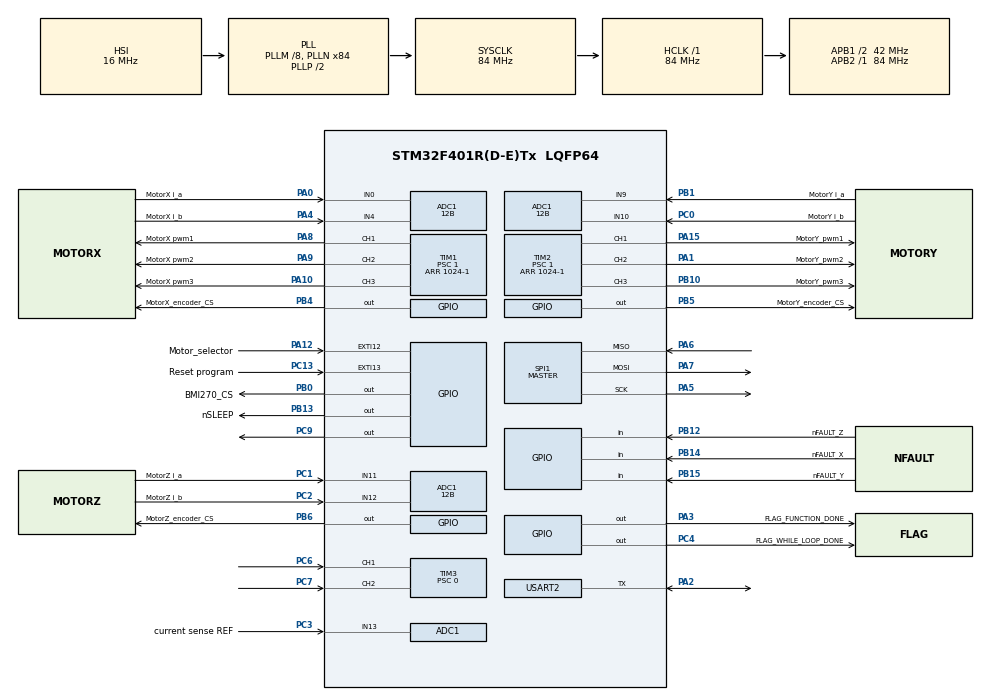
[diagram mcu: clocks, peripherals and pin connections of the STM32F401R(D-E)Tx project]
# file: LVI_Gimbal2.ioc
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ADC1.Channel-0\#ChannelRegularConversion=ADC_CHANNEL_0
ADC1.Channel-1\#ChannelRegularConversion=ADC_CHANNEL_4
ADC1.Channel-2\#ChannelRegularConversion=ADC_CHANNEL_9
ADC1.Channel-3\#ChannelRegularConversion=ADC_CHANNEL_10
ADC1.Channel-4\#ChannelRegularConversion=ADC_CHANNEL_13
ADC1.ClockPrescaler=ADC_CLOCK_SYNC_PCLK_DIV4
ADC1.ContinuousConvMode=ENABLE
ADC1.DMAContinuousRequests=ENABLE
ADC1.NbrOfConversion=5
ADC1.NbrOfConversionFlag=1
ADC1.Rank-0\#ChannelRegularConversion=1
ADC1.Rank-1\#ChannelRegularConversion=2
ADC1.Rank-2\#ChannelRegularConversion=3
ADC1.Rank-3\#ChannelRegularConversion=4
ADC1.Rank-4\#ChannelRegularConversion=5
ADC1.Resolution=ADC_RESOLUTION_12B
ADC1.SamplingTime-0\#ChannelRegularConversion=ADC_SAMPLETIME_3CYCLES
ADC1.SamplingTime-1\#ChannelRegularConversion=ADC_SAMPLETIME_3CYCLES
ADC1.SamplingTime-2\#ChannelRegularConversion=ADC_SAMPLETIME_3CYCLES
ADC1.SamplingTime-3\#ChannelRegularConversion=ADC_SAMPLETIME_3CYCLES
ADC1.SamplingTime-4\#ChannelRegularConversion=ADC_SAMPLETIME_3CYCLES
ADC1.master=1
Dma.ADC1.0.Direction=DMA_PERIPH_TO_MEMORY
Dma.ADC1.0.FIFOMode=DMA_FIFOMODE_DISABLE
Dma.ADC1.0.Instance=DMA2_Stream0
Dma.ADC1.0.MemDataAlignment=DMA_MDATAALIGN_HALFWORD
Dma.ADC1.0.MemInc=DMA_MINC_ENABLE
Dma.ADC1.0.Mode=DMA_CIRCULAR
Dma.ADC1.0.PeriphDataAlignment=DMA_PDATAALIGN_HALFWORD
Dma.ADC1.0.PeriphInc=DMA_PINC_DISABLE
Dma.ADC1.0.Priority=DMA_PRIORITY_LOW
Dma.Request0=ADC1
Mcu.Family=STM32F4
Mcu.Name=STM32F401R(D-E)Tx
Mcu.Package=LQFP64
NVIC.DMA2_Stream0_IRQn=true\:0\:0\:false\:false\:true\:false\:true
NVIC.EXTI15_10_IRQn=true\:0\:0\:false\:false\:true\:true\:true
NVIC.PriorityGroup=NVIC_PRIORITYGROUP_0
PA0-WKUP.GPIO_Label=MotorX i_a
PA0-WKUP.Signal=ADCx_IN0
PA1.GPIO_Label=MotorY_pwm2
PA1.Signal=S_TIM2_CH2
PA10.GPIO_Label=MotorX pwm3
PA10.Signal=S_TIM1_CH3
PA12.GPIO_Label=Motor_selector
PA12.Signal=GPXTI12
PA13.GPIO_Label=TMS
PA13.Mode=Serial_Wire
PA13.Signal=SYS_JTMS-SWDIO
PA14.GPIO_Label=TCK
PA14.Mode=Serial_Wire
PA14.Signal=SYS_JTCK-SWCLK
PA15.GPIO_Label=MotorY_pwm1
PA15.Signal=S_TIM2_CH1_ETR
PA2.Mode=Half_duplex(single_wire_mode)
PA2.Signal=USART2_TX
PA3.GPIO_Label=FLAG_FUNCTION_DONE
PA3.GPIO_Speed=GPIO_SPEED_FREQ_HIGH
PA3.Signal=GPIO_Output
PA4.GPIO_Label=MotorX i_b
PA4.Signal=ADCx_IN4
PA5.Mode=Full_Duplex_Master
PA5.Signal=SPI1_SCK
PA6.Mode=Full_Duplex_Master
PA6.Signal=SPI1_MISO
PA7.Mode=Full_Duplex_Master
PA7.Signal=SPI1_MOSI
PA8.GPIO_Label=MotorX pwm1
PA8.Signal=S_TIM1_CH1
PA9.GPIO_Label=MotorX pwm2
PA9.Signal=S_TIM1_CH2
PB0.GPIO_Label=BMI270_CS
PB0.GPIO_Speed=GPIO_SPEED_FREQ_VERY_HIGH
PB0.PinState=GPIO_PIN_SET
PB0.Signal=GPIO_Output
PB1.GPIO_Label=MotorY i_a
PB1.Signal=ADCx_IN9
PB10.GPIO_Label=MotorY_pwm3
PB10.Signal=S_TIM2_CH3
PB12.GPIO_Label=nFAULT_Z
PB12.Signal=GPIO_Input
PB13.GPIO_Label=nSLEEP
PB13.GPIO_Speed=GPIO_SPEED_FREQ_HIGH
PB13.Signal=GPIO_Output
PB14.GPIO_Label=nFAULT_X
PB14.Signal=GPIO_Input
PB15.GPIO_Label=nFAULT_Y
PB15.Signal=GPIO_Input
PB3.GPIO_Label=SWO
PB3.Signal=SYS_JTDO-SWO
PB4.GPIO_Label=MotorX_encoder_CS
PB4.GPIO_Speed=GPIO_SPEED_FREQ_VERY_HIGH
PB4.PinState=GPIO_PIN_SET
PB4.Signal=GPIO_Output
PB5.GPIO_Label=MotorY_encoder_CS
PB5.GPIO_Speed=GPIO_SPEED_FREQ_VERY_HIGH
PB5.PinState=GPIO_PIN_SET
PB5.Signal=GPIO_Output
PB6.GPIO_Label=MotorZ_encoder_CS
PB6.GPIO_Speed=GPIO_SPEED_FREQ_VERY_HIGH
PB6.PinState=GPIO_PIN_SET
PB6.Signal=GPIO_Output
PC0.GPIO_Label=MotorY i_b
PC0.Signal=ADCx_IN10
PC1.GPIO_Label=MotorZ i_a
PC1.Signal=ADCx_IN11
PC13-ANTI_TAMP.GPIO_Label=Reset program
PC13-ANTI_TAMP.GPIO_ModeDefaultEXTI=GPIO_MODE_IT_FALLING
PC13-ANTI_TAMP.GPIO_PuPd=GPIO_NOPULL
PC13-ANTI_TAMP.Signal=GPXTI13
PC14-OSC32_IN.Mode=LSE-External-Oscillator
PC14-OSC32_IN.Signal=RCC_OSC32_IN
PC15-OSC32_OUT.Mode=LSE-External-Oscillator
PC15-OSC32_OUT.Signal=RCC_OSC32_OUT
PC2.GPIO_Label=MotorZ i_b
PC2.Signal=ADCx_IN12
PC3.GPIO_Label=current sense REF
PC3.Signal=ADCx_IN13
PC4.GPIO_Label=FLAG_WHILE_LOOP_DONE
PC4.GPIO_Speed=GPIO_SPEED_FREQ_HIGH
PC4.Signal=GPIO_Output
PC6.Signal=S_TIM3_CH1
PC7.Signal=S_TIM3_CH2
PC9.Signal=GPIO_Output
PH0\ -\ OSC_IN.Mode=HSE-External-Oscillator
PH0\ -\ OSC_IN.Signal=RCC_OSC_IN
PH1\ -\ OSC_OUT.Mode=HSE-External-Oscillator
PH1\ -\ OSC_OUT.Signal=RCC_OSC_OUT
ProjectManager.HeapSize=0x200
ProjectManager.StackSize=0x400
ProjectManager.TargetToolchain=STM32CubeIDE
RCC.48MHZClocksFreq_Value=24000000
RCC.AHBFreq_Value=84000000
RCC.APB1CLKDivider=RCC_HCLK_DIV2
RCC.APB1Freq_Value=42000000
RCC.APB1TimFreq_Value=84000000
RCC.APB2Freq_Value=84000000
RCC.APB2TimFreq_Value=84000000
RCC.CortexFreq_Value=84000000
RCC.HCLKFreq_Value=84000000
RCC.HSE_VALUE=8000000
RCC.HSI_VALUE=16000000
RCC.PLLM=8
RCC.PLLN=84
RCC.PLLQ=7
RCC.SYSCLKFreq_VALUE=84000000
RCC.SYSCLKSource=RCC_SYSCLKSOURCE_PLLCLK
RCC.VCOOutputFreq_Value=168000000
SH.ADCx_IN0.0=ADC1_IN0,IN0
SH.ADCx_IN10.0=ADC1_IN10,IN10
SH.ADCx_IN11.0=ADC1_IN11,IN11
SH.ADCx_IN12.0=ADC1_IN12,IN12
SH.ADCx_IN13.0=ADC1_IN13,IN13
SH.ADCx_IN4.0=ADC1_IN4,IN4
SH.ADCx_IN9.0=ADC1_IN9,IN9
SH.S_TIM1_CH1.0=TIM1_CH1,PWM Generation1 CH1
SH.S_TIM1_CH2.0=TIM1_CH2,PWM Generation2 CH2
SH.S_TIM1_CH3.0=TIM1_CH3,PWM Generation3 CH3
SH.S_TIM2_CH1_ETR.0=TIM2_CH1,PWM Generation1 CH1
SH.S_TIM2_CH2.0=TIM2_CH2,PWM Generation2 CH2
SH.S_TIM2_CH3.0=TIM2_CH3,PWM Generation3 CH3
SH.S_TIM3_CH1.0=TIM3_CH1,Encoder_Interface
SH.S_TIM3_CH2.0=TIM3_CH2,Encoder_Interface
SPI1.BaudRatePrescaler=SPI_BAUDRATEPRESCALER_8
SPI1.Direction=SPI_DIRECTION_2LINES
SPI1.Mode=SPI_MODE_MASTER
SPI1.VirtualType=VM_MASTER
TIM1.AutoReloadPreload=TIM_AUTORELOAD_PRELOAD_DISABLE
TIM1.Channel-PWM\ Generation1\ CH1=TIM_CHANNEL_1
TIM1.Channel-PWM\ Generation2\ CH2=TIM_CHANNEL_2
TIM1.Channel-PWM\ Generation3\ CH3=TIM_CHANNEL_3
TIM1.ClockDivision=TIM_CLOCKDIVISION_DIV1
TIM1.CounterMode=TIM_COUNTERMODE_CENTERALIGNED1
TIM1.OCFastMode_PWM-PWM\ Generation1\ CH1=TIM_OCFAST_ENABLE
TIM1.OCFastMode_PWM-PWM\ Generation2\ CH2=TIM_OCFAST_ENABLE
TIM1.OCFastMode_PWM-PWM\ Generation3\ CH3=TIM_OCFAST_ENABLE
TIM1.Period=1024-1
TIM1.Prescaler=1
TIM1.Pulse-PWM\ Generation1\ CH1=0
TIM1.Pulse-PWM\ Generation2\ CH2=0
TIM2.Channel-PWM\ Generation1\ CH1=TIM_CHANNEL_1
TIM2.Channel-PWM\ Generation2\ CH2=TIM_CHANNEL_2
TIM2.Channel-PWM\ Generation3\ CH3=TIM_CHANNEL_3
TIM2.CounterMode=TIM_COUNTERMODE_CENTERALIGNED1
TIM2.OCFastMode_PWM-PWM\ Generation1\ CH1=TIM_OCFAST_ENABLE
TIM2.OCFastMode_PWM-PWM\ Generation2\ CH2=TIM_OCFAST_ENABLE
TIM2.OCFastMode_PWM-PWM\ Generation3\ CH3=TIM_OCFAST_ENABLE
TIM2.Period=1024-1
TIM2.Prescaler=1
TIM3.AutoReloadPreload=TIM_AUTORELOAD_PRELOAD_ENABLE
TIM3.EncoderMode=TIM_ENCODERMODE_TI12
TIM3.Period=730
TIM3.Prescaler=0
TIM3.TIM_MasterOutputTrigger=TIM_TRGO_RESET
TIM5.Channel-Output\ Compare4\ No\ Output=TIM_CHANNEL_4
TIM5.Period=999999
TIM5.Prescaler=84
USART2.VirtualMode=VM_ASYNC
VP_TIM1_VS_ClockSourceINT.Mode=Internal
VP_TIM2_VS_ClockSourceINT.Mode=Internal
VP_TIM5_VS_no_output4.Mode=Output Compare4 No Output
board=NUCLEO-F401RE

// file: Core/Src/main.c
/* USER CODE BEGIN Header */
/**
 ******************************************************************************
 * @file           : main.c
 * @brief          : Main program body
 ******************************************************************************
 * @attention
 *
 * <h2><center>&copy; Copyright (c) 2021 STMicroelectronics.
 * All rights reserved.</center></h2>
 *
 * This software component is licensed by ST under BSD 3-Clause license,
 * the "License"; You may not use this file except in compliance with the
 * License. You may obtain a copy of the License at:
 *                        opensource.org/licenses/BSD-3-Clause
 *
 ******************************************************************************
 */
/* USER CODE END Header */
#include "main.h"

/* USER CODE BEGIN Includes */
#include <math.h>
#include <string.h>
#include <stdio.h>
#include <time.h>
#include "BMI270.h"
#include "AS5048A.h"
#include "Quaternions.h"
#include "DRV8313.h"
#include "def.h"
#include "foc.h"
#include "time_utils.h"
/* USER CODE END Includes */

ADC_HandleTypeDef hadc1;
DMA_HandleTypeDef hdma_adc1;

SPI_HandleTypeDef hspi1;

TIM_HandleTypeDef htim1;
TIM_HandleTypeDef htim2;
TIM_HandleTypeDef htim3;
TIM_HandleTypeDef htim5;

UART_HandleTypeDef huart2;

/* USER CODE BEGIN PV */
volatile uint16_t rotary_cnt;
volatile uint8_t motor_control_toggle; //0 = control MotorX, 1 = control MotorY

MotorDriver MotorX;
MotorDriver MotorY;

IMU Imu;

float target_roll, target_pitch;

volatile uint16_t adc_read[5];
volatile uint8_t adcConvComplete = 0;

volatile float q0 = 1.0f, q1 = 0.0f, q2 = 0.0f, q3 = 0.0f;

char *buff[BUFF_SIZE];    //string buffer for UART-printing

/* USER CODE END PV */

void SystemClock_Config(void);
static void MX_GPIO_Init(void);
static void MX_USART2_UART_Init(void);
static void MX_DMA_Init(void);
static void MX_ADC1_Init(void);
static void MX_TIM1_Init(void);
static void MX_SPI1_Init(void);
static void MX_TIM2_Init(void);
static void MX_TIM3_Init(void);
static void MX_TIM5_Init(void);
/* USER CODE BEGIN PFP */

void motorParams_optimized(){
	/*#######################################*/
	/*############### MotorX ################*/
	/*#######################################*/

	/*Filtering*/
	MotorX.LPF_current_d.Tf = 0.1f;
	MotorX.LPF_current_q.Tf = MotorX.LPF_current_q.Tf;
	MotorX.LPF_velocity.Tf = 0.1f;
	MotorX.LPF_angle.Tf = 0.15f;
	MotorX.LPF_imu.Tf = 0.2f;

	/* d-regulator */
	MotorX.d_reg.Kp = 1.25f;
	MotorX.d_reg.Ki = 0.001f;
	MotorX.d_reg.Kd = 0.00001f;
	/* q-regulator */
	MotorX.q_reg.Kp = MotorX.d_reg.Kp;
	MotorX.q_reg.Ki = MotorX.d_reg.Ki;
	MotorX.q_reg.Kd = MotorX.d_reg.Kd;

	/* speed regulator */
	MotorX.speed_reg.Kp = 0.75f;
	MotorX.speed_reg.Ki = 0.00f;
	MotorX.speed_reg.Kd = 0.00f;

	/* position regulator */
	MotorX.pos_reg.Kp = 2.0f;
	MotorX.pos_reg.Ki = 0.0f;
	MotorX.pos_reg.Kd = 0.00f;

	/* imu regulator */
	MotorX.imu_reg.Kp = 7.89f;
	MotorX.imu_reg.Ki = 6.566f;
	MotorX.imu_reg.Kd = 0.51f;

	/*#######################################*/
	/*############### MotorY ################*/
	/*#######################################*/

	/*Filtering*/
	MotorY.LPF_current_d.Tf = 0.1f;
	MotorY.LPF_current_q.Tf = MotorY.LPF_current_d.Tf;
	MotorY.LPF_velocity.Tf = 0.1f;
	MotorY.LPF_angle.Tf = 0.15f;
	MotorY.LPF_imu.Tf = 0.2f;

	/* d-regulator */
	MotorY.d_reg.Kp = 1.6f;
	MotorY.d_reg.Ki = 0.001f;
	MotorY.d_reg.Kd = 0.00001f;
	/* q-regulator */
	MotorY.q_reg.Kp = MotorY.d_reg.Kp;
	MotorY.q_reg.Ki = MotorY.d_reg.Ki;
	MotorY.q_reg.Kd = MotorY.d_reg.Kd;

	/* speed regulator */
	MotorY.speed_reg.Kp = 0.75f;
	MotorY.speed_reg.Ki = 0.00f;
	MotorY.speed_reg.Kd = 0.00f;

	/* position regulator */
	MotorY.pos_reg.Kp = 2.0f;
	MotorY.pos_reg.Ki = 0.0f;
	MotorY.pos_reg.Kd = 0.0f;

	/* imu regulator */
	MotorY.imu_reg.Kp = 6.5f;
	MotorY.imu_reg.Ki = 5.0f;
	MotorY.imu_reg.Kd = 0.63f;
}

void motorParams_demo(){
	/*#######################################*/
	/*############### MotorX ################*/
	/*#######################################*/

	/*Filtering*/
	MotorX.LPF_current_d.Tf = 0.1f;
	MotorX.LPF_current_q.Tf = MotorX.LPF_current_q.Tf;
	MotorX.LPF_velocity.Tf = 0.3f;
	MotorX.LPF_angle.Tf = 0.35f;
	MotorX.LPF_imu.Tf = 0.4f;

	/* d-regulator */
	MotorX.d_reg.Kp = 1.25f;
	MotorX.d_reg.Ki = 0.001f;
	MotorX.d_reg.Kd = 0.00001f;
	/* q-regulator */
	MotorX.q_reg.Kp = MotorX.d_reg.Kp;
	MotorX.q_reg.Ki = MotorX.d_reg.Ki;
	MotorX.q_reg.Kd = MotorX.d_reg.Kd;

	/* speed regulator */
	MotorX.speed_reg.Kp = 0.75f;
	MotorX.speed_reg.Ki = 0.00f;
	MotorX.speed_reg.Kd = 0.00f;

	/* position regulator */
	MotorX.pos_reg.Kp = 2.0f;
	MotorX.pos_reg.Ki = 0.0f;
	MotorX.pos_reg.Kd = 0.00f;

	/* imu regulator */
	MotorX.imu_reg.Kp = 7.89f;
	MotorX.imu_reg.Ki = 6.566f;
	MotorX.imu_reg.Kd = 0.51f;

	/*#######################################*/
	/*############### MotorY ################*/
	/*#######################################*/

	/*Filtering*/
	MotorY.LPF_current_d.Tf = 0.1f;
	MotorY.LPF_current_q.Tf = MotorY.LPF_current_d.Tf;
	MotorY.LPF_velocity.Tf = 0.3f;
	MotorY.LPF_angle.Tf = 0.35f;
	MotorY.LPF_imu.Tf = 0.4f;

	/* d-regulator */
	MotorY.d_reg.Kp = 1.6f;
	MotorY.d_reg.Ki = 0.001f;
	MotorY.d_reg.Kd = 0.00001f;
	/* q-regulator */
	MotorY.q_reg.Kp = MotorY.d_reg.Kp;
	MotorY.q_reg.Ki = MotorY.d_reg.Ki;
	MotorY.q_reg.Kd = MotorY.d_reg.Kd;

	/* speed regulator */
	MotorY.speed_reg.Kp = 0.75f;
	MotorY.speed_reg.Ki = 0.00f;
	MotorY.speed_reg.Kd = 0.00f;

	/* position regulator */
	MotorY.pos_reg.Kp = 2.0f;
	MotorY.pos_reg.Ki = 0.0f;
	MotorY.pos_reg.Kd = 0.0f;

	/* imu regulator */
	MotorY.imu_reg.Kp = 6.5f;
	MotorY.imu_reg.Ki = 5.0f;
	MotorY.imu_reg.Kd = 0.63f;
}

void motorParams_filterOff_pidOff(){
	/*#######################################*/
	/*############### MotorX ################*/
	/*#######################################*/

	/*Filtering*/
	MotorX.LPF_current_d.Tf = 0.0f;
	MotorX.LPF_current_q.Tf = MotorX.LPF_current_q.Tf;
	MotorX.LPF_velocity.Tf = 0.05f;
	MotorX.LPF_angle.Tf = 0.0f;
	MotorX.LPF_imu.Tf = 0.0f;

	/* d-regulator */
	MotorX.d_reg.Kp = 1.0f;
	MotorX.d_reg.Ki = 0.0f;
	MotorX.d_reg.Kd = 0.0f;
	/* q-regulator */
	MotorX.q_reg.Kp = MotorX.d_reg.Kp;
	MotorX.q_reg.Ki = MotorX.d_reg.Ki;
	MotorX.q_reg.Kd = MotorX.d_reg.Kd;

	/* speed regulator */
	MotorX.speed_reg.Kp = 1.0f;
	MotorX.speed_reg.Ki = 0.0f;
	MotorX.speed_reg.Kd = 0.0f;

	/* position regulator */
	MotorX.pos_reg.Kp = 1.0f;
	MotorX.pos_reg.Ki = 0.0f;
	MotorX.pos_reg.Kd = 0.0f;

	/* imu regulator */
	MotorX.imu_reg.Kp = 1.0f;
	MotorX.imu_reg.Ki = 0.0f;
	MotorX.imu_reg.Kd = 0.0f;

	/*#######################################*/
	/*############### MotorY ################*/
	/*#######################################*/

	/*Filtering*/
	MotorY.LPF_current_d.Tf = 0.0f;
	MotorY.LPF_current_q.Tf = MotorY.LPF_current_d.Tf;
	MotorY.LPF_velocity.Tf = 0.05f;
	MotorY.LPF_angle.Tf = 0.0f;
	MotorY.LPF_imu.Tf = 0.0f;

	/* d-regulator */
	MotorY.d_reg.Kp = 1.0f;
	MotorY.d_reg.Ki = 0.0f;
	MotorY.d_reg.Kd = 0.0f;
	/* q-regulator */
	MotorY.q_reg.Kp = MotorY.d_reg.Kp;
	MotorY.q_reg.Ki = MotorY.d_reg.Ki;
	MotorY.q_reg.Kd = MotorY.d_reg.Kd;

	/* speed regulator */
	MotorY.speed_reg.Kp = 1.0f;
	MotorY.speed_reg.Ki = 0.00f;
	MotorY.speed_reg.Kd = 0.00f;

	/* position regulator */
	MotorY.pos_reg.Kp = 1.0f;
	MotorY.pos_reg.Ki = 0.0f;
	MotorY.pos_reg.Kd = 0.0f;

	/* imu regulator */
	MotorY.imu_reg.Kp = 1.0f;
	MotorY.imu_reg.Ki = 0.0f;
	MotorY.imu_reg.Kd = 0.0f;
}

void motorParams_filterOn_pidOff(){
	/*#######################################*/
	/*############### MotorX ################*/
	/*#######################################*/

	/*Filtering*/
	MotorX.LPF_current_d.Tf = 0.1f;
	MotorX.LPF_current_q.Tf = MotorX.LPF_current_q.Tf;
	MotorX.LPF_velocity.Tf = 0.3f;
	MotorX.LPF_angle.Tf = 0.35f;
	MotorX.LPF_imu.Tf = 0.4f;

	/* d-regulator */
	MotorX.d_reg.Kp = 1.0f;
	MotorX.d_reg.Ki = 0.0f;
	MotorX.d_reg.Kd = 0.0f;
	/* q-regulator */
	MotorX.q_reg.Kp = MotorX.d_reg.Kp;
	MotorX.q_reg.Ki = MotorX.d_reg.Ki;
	MotorX.q_reg.Kd = MotorX.d_reg.Kd;

	/* speed regulator */
	MotorX.speed_reg.Kp = 1.0f;
	MotorX.speed_reg.Ki = 0.0f;
	MotorX.speed_reg.Kd = 0.0f;

	/* position regulator */
	MotorX.pos_reg.Kp = 1.0f;
	MotorX.pos_reg.Ki = 0.0f;
	MotorX.pos_reg.Kd = 0.0f;

	/* imu regulator */
	MotorX.imu_reg.Kp = 1.0f;
	MotorX.imu_reg.Ki = 0.0f;
	MotorX.imu_reg.Kd = 0.0f;

	/*#######################################*/
	/*############### MotorY ################*/
	/*#######################################*/

	/*Filtering*/
	MotorY.LPF_current_d.Tf = 0.1f;
	MotorY.LPF_current_q.Tf = MotorY.LPF_current_d.Tf;
	MotorY.LPF_velocity.Tf = 0.3f;
	MotorY.LPF_angle.Tf = 0.35f;
	MotorY.LPF_imu.Tf = 0.4f;

	/* d-regulator */
	MotorY.d_reg.Kp = 1.0f;
	MotorY.d_reg.Ki = 0.0f;
	MotorY.d_reg.Kd = 0.0f;
	/* q-regulator */
	MotorY.q_reg.Kp = MotorY.d_reg.Kp;
	MotorY.q_reg.Ki = MotorY.d_reg.Ki;
	MotorY.q_reg.Kd = MotorY.d_reg.Kd;

	/* speed regulator */
	MotorY.speed_reg.Kp = 1.0f;
	MotorY.speed_reg.Ki = 0.00f;
	MotorY.speed_reg.Kd = 0.00f;

	/* position regulator */
	MotorY.pos_reg.Kp = 1.0f;
	MotorY.pos_reg.Ki = 0.0f;
	MotorY.pos_reg.Kd = 0.0f;

	/* imu regulator */
	MotorY.imu_reg.Kp = 1.0f;
	MotorY.imu_reg.Ki = 0.0f;
	MotorY.imu_reg.Kd = 0.0f;
}

void motorParams_filterOff_pidOn(){
	/*#######################################*/
	/*############### MotorX ################*/
	/*#######################################*/

	/*Filtering*/
	MotorX.LPF_current_d.Tf = 0.0f;
	MotorX.LPF_current_q.Tf = MotorX.LPF_current_q.Tf;
	MotorX.LPF_velocity.Tf = 0.05f;
	MotorX.LPF_angle.Tf = 0.0f;
	MotorX.LPF_imu.Tf = 0.0f;

	/* d-regulator */
	MotorX.d_reg.Kp = 1.25f;
	MotorX.d_reg.Ki = 0.001f;
	MotorX.d_reg.Kd = 0.00001f;
	/* q-regulator */
	MotorX.q_reg.Kp = MotorX.d_reg.Kp;
	MotorX.q_reg.Ki = MotorX.d_reg.Ki;
	MotorX.q_reg.Kd = MotorX.d_reg.Kd;

	/* speed regulator */
	MotorX.speed_reg.Kp = 0.75f;
	MotorX.speed_reg.Ki = 0.00f;
	MotorX.speed_reg.Kd = 0.00f;

	/* position regulator */
	MotorX.pos_reg.Kp = 2.0f;
	MotorX.pos_reg.Ki = 0.0f;
	MotorX.pos_reg.Kd = 0.00f;

	/* imu regulator */
	MotorX.imu_reg.Kp = 7.0f;
	MotorX.imu_reg.Ki = 9.066f;
	MotorX.imu_reg.Kd = 0.0f;

	/*#######################################*/
	/*############### MotorY ################*/
	/*#######################################*/

	/*Filtering*/
	MotorY.LPF_current_d.Tf = 0.0f;
	MotorY.LPF_current_q.Tf = MotorY.LPF_current_d.Tf;
	MotorY.LPF_velocity.Tf = 0.05f;
	MotorY.LPF_angle.Tf = 0.0f;
	MotorY.LPF_imu.Tf = 0.0f;

	/* d-regulator */
	MotorY.d_reg.Kp = 1.6f;
	MotorY.d_reg.Ki = 0.001f;
	MotorY.d_reg.Kd = 0.00001f;
	/* q-regulator */
	MotorY.q_reg.Kp = MotorY.d_reg.Kp;
	MotorY.q_reg.Ki = MotorY.d_reg.Ki;
	MotorY.q_reg.Kd = MotorY.d_reg.Kd;

	/* speed regulator */
	MotorY.speed_reg.Kp = 0.75f;
	MotorY.speed_reg.Ki = 0.00f;
	MotorY.speed_reg.Kd = 0.00f;

	/* position regulator */
	MotorY.pos_reg.Kp = 2.0f;
	MotorY.pos_reg.Ki = 0.0f;
	MotorY.pos_reg.Kd = 0.0f;

	/* imu regulator */
	MotorY.imu_reg.Kp = 7.0f;
	MotorY.imu_reg.Ki = 10.0f;
	MotorY.imu_reg.Kd = 0.0f;
}

/* USER CODE END PFP */

int main(void)
{
  /* USER CODE BEGIN 1 */

	/*Quaternion vars*/
	//######################################

	volatile clock_t us_t = 0;
	volatile clock_t us_t_prev = 0;

	//wait variable for bypassing zero-values when calculating quaternion
	uint8_t waitFilterUpdate = 0;
	//######################################
	/*IMU variables*/
	//######################################
	float gyr_range, acc_range;
	float gyr_limiter = 0.7;

	volatile clock_t t1, t2;
	float loop_time;

//	float x_target;
	//######################################
	/*DRV8313 vars*/
	//######################################
	float current_sense_gain = CURRENT_SENSE_GAIN;    //INA2181A1 gain = 20V/V
	float adc_ref = ADC_REF_VOLTAGE;    //reference voltage for STM32 ADC
	volatile float ina_ref = 0.0f;    //should be at 1.65 V for INA2181
	uint16_t adc_max = 4096;    //maximum ADC digital output (12-bit --> 4096)
	float adc_ratio;    //divisor by adc_mac
	float adc_factor;
	float sense_resistance = CURRENT_SENSE_RESISTANCE;    //3 parallel 0.68 Ω resistors as low-side sensors
	float sense_ratio;    //divisor by current_sense_gain

	//######################################

	uint32_t loop_cnt = 0;
	uint32_t print_flag = 700;    //how many loops should run before printing values

  /* USER CODE END 1 */

  /* MCU Configuration--------------------------------------------------------*/

  /* Reset of all peripherals, Initializes the Flash interface and the Systick. */
  HAL_Init();

  /* Configure the system clock */
  SystemClock_Config();

  /* Initialize all configured peripherals */
  MX_GPIO_Init();
  MX_USART2_UART_Init();
  MX_DMA_Init();
  MX_ADC1_Init();
  MX_TIM1_Init();
  MX_SPI1_Init();
  MX_TIM2_Init();
  MX_TIM3_Init();
  MX_TIM5_Init();
  /* USER CODE BEGIN 2 */

	if (!USE_IMU_VIS) {
		sprintf((char*) buff, "\r\n###########################\r\n");
		HAL_UART_Transmit(&huart2, (uint8_t*) buff, strlen((char*) buff),
		HAL_MAX_DELAY);
	}

	HAL_TIM_Encoder_Start(&htim3, TIM_CHANNEL_ALL);
	TIM3->CNT = 0.5f * htim3.Init.Period;

	DWT_Init();

	EulerAngles Euler;

//	MotorZ.PIN_ENC = PIN_ENC_Z;
//	MotorZ.PIN_nFAULT = PIN_nFAULT_Z;

	if (USE_BMI270) {
		bmi270_spi_init();

		bmi270_spi_init_check();    //if (!USE_IMU_VIS)

		bmi270_pwr_conf(BMI270_PWR_MODE_PERF);
		bmi270_spi_write_8(REG_GYR_RANGE, range_2000);
		bmi270_spi_write_8(REG_ACC_RANGE, range_16g);

		bmi270_getGyroRange(&Imu);
		bmi270_getAccelRange(&Imu);
		bmi270_calibrateInit(&Imu, 0);

		Imu.gyr_odr = gyr_odr_3k2; /* Set gyro 3dB LP-filter cutoff to 50Hz */
		Imu.gyr_bwp = gyr_norm;
		Imu.gyr_noise_perf = gyr_ulp;
		Imu.gyr_filter_perf = gyr_ulp;
		bmi270_setGyroConf(&Imu);
		bmi270_getGyroConf(&Imu);

		Imu.acc_odr = acc_odr_1k6; /* Set accel 3dB LP-filter cutoff to 50Hz */
		Imu.acc_bwp = acc_osr4_avg1;
		Imu.acc_filter_perf = acc_ulp;
		bmi270_setAccConf(&Imu);
		bmi270_getAccConf(&Imu);

		/* PID and filtering */
		Imu.roll_sp = 0;
		Imu.pitch_sp = 0;

//		Imu.imu_filter.Tf = 0.145f;
		Imu.update_ctr = 0;
		Imu.update_goal = 7;
	}

//	MotorDriver MotorZ;

	MotorX.PIN_ENC = PIN_ENC_X;
	MotorX.PIN_nFAULT = PIN_nFAULT_X;
	MotorY.PIN_ENC = PIN_ENC_Y;
	MotorY.PIN_nFAULT = PIN_nFAULT_Y;

	/* Initialize encoders for each motor
	 * Note: Do this before initializing the IMU.
	 * Or else, */
	if (USE_AS5048A) {
		as5048a_init(&MotorX);
		as5048a_init(&MotorY);
//		as5048a_init(&MotorZ);
	}

	if (USE_DRV8313) {
		FastTrigonometry_buildTable();

		drv8313_init(&MotorX, &htim1);
		drv8313_init(&MotorY, &htim2);

		motorParams_optimized();
//		motorParams_demo();
//		motorParams_filterOff_pidOff();
//		motorParams_filterOn_pidOff();
//		motorParams_filterOff_pidOn();

		MotorX.update_goal = 4;
		MotorY.update_goal = 4;

//		drv8313_setPID(&MotorX, REGULATE_IMU, 90, 0, 0);
//		drv8313_setPID(&MotorY);

//		drv8313_init(&MotorZ, &htim3);

		MotorX.pole_pairs = 11;
		MotorY.pole_pairs = 11;
//		MotorZ.pole_pairs = 11;

//		MotorX.offset = 5.0f*DEG_TO_RAD;
//		MotorY.offset = 5.0f*DEG_TO_RAD;

		/*Initialize ADC */
		HAL_ADC_Start_DMA(&hadc1, (uint32_t*) adc_read, 5);

		adc_ratio = 1 / (float) adc_max;
		sense_ratio = 1 / (float) (sense_resistance * current_sense_gain);
		adc_factor = adc_ratio * adc_ref;

		/* ADC interrupt wait */
		while (adcConvComplete == 0) {
		}
		adcConvComplete = 0;

		/* get reference voltage on INA2181 */
		ina_ref = adc_read[4] * adc_factor;

		/* get phase currents on each motor */
		MotorX.i_a = (adc_read[0] * adc_factor - ina_ref) * sense_ratio;
		MotorX.i_b = (adc_read[1] * adc_factor - ina_ref) * sense_ratio;

		MotorY.i_a = (adc_read[2] * adc_factor - ina_ref) * sense_ratio;
		MotorY.i_b = (adc_read[3] * adc_factor - ina_ref) * sense_ratio;
//
//		MotorZ.i_a = (adc_read[4] * adc_ratio * adc_ref - ina_ref)
//				* sense_ratio;
//		MotorZ.i_b = (adc_read[5] * adc_ratio * adc_ref - ina_ref)
//				* sense_ratio;
	}

//	TIM5->PSC = 84;
//	TIM5->ARR = 1000000 - 1;
//
//	HAL_TIM_Base_Start(&htim5);
  /* USER CODE END 2 */

  /* Infinite loop */
  /* USER CODE BEGIN WHILE */

	while (1) {

		t1 = HAL_GetTick();

		Imu.gyr_x = (int16_t) bmi270_read_gyro(AXIS_X) * Imu.inv_gyr_range;
		Imu.gyr_y = (int16_t) bmi270_read_gyro(AXIS_Y) * Imu.inv_gyr_range;
		Imu.gyr_z = (int16_t) bmi270_read_gyro(AXIS_Z) * Imu.inv_gyr_range;

		Imu.acc_x = (int16_t) bmi270_read_accel(AXIS_X) * Imu.inv_acc_range;
		Imu.acc_y = (int16_t) bmi270_read_accel(AXIS_Y) * Imu.inv_acc_range;
		Imu.acc_z = (int16_t) bmi270_read_accel(AXIS_Z) * Imu.inv_acc_range;

//			HAL_GPIO_WritePin(GPIOC, FLAG_WHILE_LOOP_DONE_Pin, SET);

		filterUpdate(Imu.gyr_x * DEG_TO_RAD, Imu.gyr_y * DEG_TO_RAD,
				Imu.gyr_z * DEG_TO_RAD, Imu.acc_x, Imu.acc_y, Imu.acc_z,
				loop_time * 1e-3);

		Euler = ToEulerAngles(q0, q1, q2, q3);
		Imu.roll = lpf_exec(&MotorX.LPF_imu, Euler.x);
		Imu.pitch = lpf_exec(&MotorY.LPF_imu, Euler.y);

		/* ADC DMA wait */
		while (adcConvComplete == 0) {
		}
		adcConvComplete = 0;

		if(!Imu.update_ctr){
			/* get reference voltage on INA2181 */
			ina_ref = adc_read[4] * adc_factor;

			/* get phase currents on the motor */
			MotorX.i_a = (adc_read[0] * adc_factor - ina_ref) * sense_ratio;
			MotorX.i_b = (adc_read[1] * adc_factor - ina_ref) * sense_ratio;

			MotorY.i_a = (adc_read[2] * adc_factor - ina_ref) * sense_ratio;
			MotorY.i_b = (adc_read[3] * adc_factor - ina_ref) * sense_ratio;

		}
		Imu.update_ctr = (Imu.update_ctr + 1) % Imu.update_goal;

		float increment = 0.5f * DEG_TO_RAD;
		uint8_t DEC = 0, INC = 1, DIR = 2;
		uint16_t midpoint = htim3.Init.Period * 0.5;

		if((int16_t)(midpoint - TIM3->CNT) < 0) DIR = INC;
		else if((int16_t)(midpoint - TIM3->CNT) > 0) DIR = DEC;

		if(motor_control_toggle == AXIS_X){
			if(DIR == INC) Imu.roll_sp += increment;
			else if(DIR == DEC) Imu.roll_sp -= increment;
		}
		else if(motor_control_toggle == AXIS_Y){
			if(DIR == INC) Imu.pitch_sp += increment;
			else if(DIR == DEC) Imu.pitch_sp -= increment;
		}

		TIM3->CNT = midpoint;

		/* Control camera with IMU */
		if(USE_IMU_CONTROL){

			switch (motor_control_toggle) {
				case 0:
					Imu.roll_sp = 0;
					Imu.pitch_sp = 0;
					if(DIR == DEC) MotorY.imu_reg.Kp -= 0.1;
					else if(DIR == INC) MotorY.imu_reg.Kp += 0.1;
					break;
				case 1:
					Imu.roll_sp = -45 * DEG_TO_RAD;
					Imu.pitch_sp = -45 * DEG_TO_RAD;
					if(DIR == DEC) MotorY.imu_reg.Ki -= 0.5;
					else if(DIR == INC) MotorY.imu_reg.Ki += 0.5;
					break;
				case 2:
					Imu.roll_sp = -45 * DEG_TO_RAD;
					Imu.pitch_sp = -45 * DEG_TO_RAD;
					if(DIR == DEC) MotorY.imu_reg.Kd -= 0.01;
					else if(DIR == INC) MotorY.imu_reg.Kd += 0.01;
					break;
			}

			/* set SVPWM on the motor*/
			/*use target_roll for IMU control*/
			target_roll = PID_Update(&MotorX.imu_reg, Imu.roll_sp, Imu.roll);
			foc_update(&MotorX, target_roll);

			/*use target_pitch for IMU control*/
			target_pitch = PID_Update(&MotorY.imu_reg, Imu.pitch_sp, Imu.pitch);
			foc_update(&MotorY, target_pitch);
		}
		/* Control camera with joystick */
		else{

//			if(TIM3->CNT >= htim3.Init.Period - 5){
//				TIM3->CNT = htim3.Init.Period - 5;
//			}
//			else if(TIM3->CNT <= 5){
//				TIM3->CNT = 5;
//			}
//
//			if(motor_control_toggle == AXIS_X){
//				Imu.roll_sp = (0.5f * htim3.Init.Period - TIM3->CNT) * DEG_TO_RAD;
//			}
//			else if(motor_control_toggle == AXIS_Y){
//				Imu.pitch_sp = (0.5f * htim3.Init.Period - TIM3->CNT) * DEG_TO_RAD;
//			}
			/* set SVPWM on the motor*/
			/*use target_roll for IMU control*/
			foc_update(&MotorX, Imu.roll_sp);

			/*use target_pitch for IMU control*/
			foc_update(&MotorY, Imu.pitch_sp);
		}

		if (USE_PRINT) {
			uint16_t len = 0;

			if (!USE_IMU_VIS && !loop_cnt) {
				if (USE_AS5048A) {
					len +=
							sprintf((char*) buff + len,
									"\r\n########## ENCODER ANGLES ##########\r\n"
											"MotorX\r\n"
											"Angle: %.3f\t Zero pos: %.3f\t speed: %.3frad/s\r\n"
											"MotorY\r\n"
											"Angle: %.3f\t Zero pos: %.3f\t speed: %.3frad/s\r\n",
									MotorX.angle * RAD_TO_DEG,
									MotorX.zero_pos_map * RAD_TO_DEG,
									MotorX.velocity, MotorY.angle * RAD_TO_DEG,
									MotorY.zero_pos_map * RAD_TO_DEG,
									MotorY.velocity);
				}
				if (USE_DRV8313) {
					len += sprintf((char*) buff + len,
							"\r\n########## DRV8313 DATA ##########\r\n"
									"######################################\r\n"
									"MotorX\r\n"
									"i_a: %.3f\ti_b: %.3f\r\n"
									"MotorY\r\n"
									"i_a: %f\ti_b: %f\r\n"
//							"MotorZ\r\n"
//							"i_a: %f\ti_b: %f\r\n"
									"INA181 ref. voltage: %.3f\r\n", MotorX.i_a,
							MotorX.i_b, MotorY.i_a, MotorY.i_b,
//							MotorZ.i_a, MotorZ.i_b,
							ina_ref);
				}
				if (USE_BMI270) {
					len +=
							sprintf((char*) buff + len,
									"\r\n########## IMU DATA ##########\r\n"
											"gyr_range: %f\r\n"
											"acc_range: %f\r\n"
											"loop time (ms): %f\r\n"
											"gyroscope x: %f˚/s, y: %f˚/s, z: %f˚/s\r\n"
											"accelerometer x: %f m/s2, y: %f m/s2, z: %f m/s2\r\n"
											"q0: %f, q1: %f, q2: %f, q3: %f\r\n"
											"roll: %f, pitch: %f, yaw: %f\r\n"
											"roll_sp: %f, pitch_sp: %f, yaw_sp: %f\r\n",
									Imu.acc_range, Imu.gyr_range, loop_time,
									Imu.gyr_x, Imu.gyr_y, Imu.gyr_z, Imu.acc_x,
									Imu.acc_y, Imu.acc_z, q0, q1, q2, q3,
									Imu.roll * RAD_TO_DEG,
									Imu.pitch * RAD_TO_DEG,
									Imu.yaw * RAD_TO_DEG,
									Imu.roll_sp * RAD_TO_DEG,
									Imu.pitch_sp * RAD_TO_DEG,
									Imu.yaw_sp * RAD_TO_DEG);
				}
				HAL_UART_Transmit(&huart2, (uint8_t*) buff,
						strlen((char*) buff),
						HAL_MAX_DELAY);
			}
			if (USE_IMU_VIS) {
				len += sprintf((char*) buff + len,
						"w%.4fwa%.4fab%.4fbc%.4fcy%.4fyp%.4fpr%.4fr\r\n", q0,
						q1, q2, q3, Imu.yaw, Imu.pitch, Imu.roll);
				HAL_UART_Transmit(&huart2, (uint8_t*) buff,
						strlen((char*) buff),
						HAL_MAX_DELAY);
			}

		}

		loop_cnt++;
		loop_cnt %= print_flag;

		/* millisecond timer */
		/* Note: It seems that HAL_GetTick() works for quaternions, while __HAL_TIM_GET_COUNTER() does not.
		 * The latter results in jittery movement. */
		t2 = HAL_GetTick() - t1;
		loop_time = t2;

		HAL_GPIO_WritePin(GPIOC, FLAG_WHILE_LOOP_DONE_Pin, RESET);
    /* USER CODE END WHILE */

	}
}

void SystemClock_Config(void)
{
  RCC_OscInitTypeDef RCC_OscInitStruct = {0};
  RCC_ClkInitTypeDef RCC_ClkInitStruct = {0};

  /** Configure the main internal regulator output voltage
  */
  __HAL_RCC_PWR_CLK_ENABLE();
  __HAL_PWR_VOLTAGESCALING_CONFIG(PWR_REGULATOR_VOLTAGE_SCALE2);
  /** Initializes the RCC Oscillators according to the specified parameters
  * in the RCC_OscInitTypeDef structure.
  */
  RCC_OscInitStruct.OscillatorType = RCC_OSCILLATORTYPE_HSI;
  RCC_OscInitStruct.HSIState = RCC_HSI_ON;
  RCC_OscInitStruct.HSICalibrationValue = RCC_HSICALIBRATION_DEFAULT;
  RCC_OscInitStruct.PLL.PLLState = RCC_PLL_ON;
  RCC_OscInitStruct.PLL.PLLSource = RCC_PLLSOURCE_HSI;
  RCC_OscInitStruct.PLL.PLLM = 8;
  RCC_OscInitStruct.PLL.PLLN = 84;
  RCC_OscInitStruct.PLL.PLLP = RCC_PLLP_DIV2;
  RCC_OscInitStruct.PLL.PLLQ = 7;
  if (HAL_RCC_OscConfig(&RCC_OscInitStruct) != HAL_OK)
  {
    Error_Handler();
  }
  /** Initializes the CPU, AHB and APB buses clocks
  */
  RCC_ClkInitStruct.ClockType = RCC_CLOCKTYPE_HCLK|RCC_CLOCKTYPE_SYSCLK
                              |RCC_CLOCKTYPE_PCLK1|RCC_CLOCKTYPE_PCLK2;
  RCC_ClkInitStruct.SYSCLKSource = RCC_SYSCLKSOURCE_PLLCLK;
  RCC_ClkInitStruct.AHBCLKDivider = RCC_SYSCLK_DIV1;
  RCC_ClkInitStruct.APB1CLKDivider = RCC_HCLK_DIV2;
  RCC_ClkInitStruct.APB2CLKDivider = RCC_HCLK_DIV1;

  if (HAL_RCC_ClockConfig(&RCC_ClkInitStruct, FLASH_LATENCY_2) != HAL_OK)
  {
    Error_Handler();
  }
}

static void MX_ADC1_Init(void)
{

  ADC_ChannelConfTypeDef sConfig = {0};

  /** Configure the global features of the ADC (Clock, Resolution, Data Alignment and number of conversion)
  */
  hadc1.Instance = ADC1;
  hadc1.Init.ClockPrescaler = ADC_CLOCK_SYNC_PCLK_DIV4;
  hadc1.Init.Resolution = ADC_RESOLUTION_12B;
  hadc1.Init.ScanConvMode = ENABLE;
  hadc1.Init.ContinuousConvMode = ENABLE;
  hadc1.Init.DiscontinuousConvMode = DISABLE;
  hadc1.Init.ExternalTrigConvEdge = ADC_EXTERNALTRIGCONVEDGE_NONE;
  hadc1.Init.ExternalTrigConv = ADC_SOFTWARE_START;
  hadc1.Init.DataAlign = ADC_DATAALIGN_RIGHT;
  hadc1.Init.NbrOfConversion = 5;
  hadc1.Init.DMAContinuousRequests = ENABLE;
  hadc1.Init.EOCSelection = ADC_EOC_SINGLE_CONV;
  if (HAL_ADC_Init(&hadc1) != HAL_OK)
  {
    Error_Handler();
  }
  /** Configure for the selected ADC regular channel its corresponding rank in the sequencer and its sample time.
  */
  sConfig.Channel = ADC_CHANNEL_0;
  sConfig.Rank = 1;
  sConfig.SamplingTime = ADC_SAMPLETIME_3CYCLES;
  if (HAL_ADC_ConfigChannel(&hadc1, &sConfig) != HAL_OK)
  {
    Error_Handler();
  }
  /** Configure for the selected ADC regular channel its corresponding rank in the sequencer and its sample time.
  */
  sConfig.Channel = ADC_CHANNEL_4;
  sConfig.Rank = 2;
  if (HAL_ADC_ConfigChannel(&hadc1, &sConfig) != HAL_OK)
  {
    Error_Handler();
  }
  /** Configure for the selected ADC regular channel its corresponding rank in the sequencer and its sample time.
  */
  sConfig.Channel = ADC_CHANNEL_9;
  sConfig.Rank = 3;
  if (HAL_ADC_ConfigChannel(&hadc1, &sConfig) != HAL_OK)
  {
    Error_Handler();
  }
  /** Configure for the selected ADC regular channel its corresponding rank in the sequencer and its sample time.
  */
  sConfig.Channel = ADC_CHANNEL_10;
  sConfig.Rank = 4;
  if (HAL_ADC_ConfigChannel(&hadc1, &sConfig) != HAL_OK)
  {
    Error_Handler();
  }
  /** Configure for the selected ADC regular channel its corresponding rank in the sequencer and its sample time.
  */
  sConfig.Channel = ADC_CHANNEL_13;
  sConfig.Rank = 5;
  if (HAL_ADC_ConfigChannel(&hadc1, &sConfig) != HAL_OK)
  {
    Error_Handler();
  }

}

static void MX_SPI1_Init(void)
{

  /* SPI1 parameter configuration*/
  hspi1.Instance = SPI1;
  hspi1.Init.Mode = SPI_MODE_MASTER;
  hspi1.Init.Direction = SPI_DIRECTION_2LINES;
  hspi1.Init.DataSize = SPI_DATASIZE_8BIT;
  hspi1.Init.CLKPolarity = SPI_POLARITY_LOW;
  hspi1.Init.CLKPhase = SPI_PHASE_1EDGE;
  hspi1.Init.NSS = SPI_NSS_SOFT;
  hspi1.Init.BaudRatePrescaler = SPI_BAUDRATEPRESCALER_8;
  hspi1.Init.FirstBit = SPI_FIRSTBIT_MSB;
  hspi1.Init.TIMode = SPI_TIMODE_DISABLE;
  hspi1.Init.CRCCalculation = SPI_CRCCALCULATION_DISABLE;
  hspi1.Init.CRCPolynomial = 10;
  if (HAL_SPI_Init(&hspi1) != HAL_OK)
  {
    Error_Handler();
  }

}

static void MX_TIM1_Init(void)
{

  TIM_ClockConfigTypeDef sClockSourceConfig = {0};
  TIM_MasterConfigTypeDef sMasterConfig = {0};
  TIM_OC_InitTypeDef sConfigOC = {0};
  TIM_BreakDeadTimeConfigTypeDef sBreakDeadTimeConfig = {0};

  htim1.Instance = TIM1;
  htim1.Init.Prescaler = 1;
  htim1.Init.CounterMode = TIM_COUNTERMODE_CENTERALIGNED1;
  htim1.Init.Period = 1024-1;
  htim1.Init.ClockDivision = TIM_CLOCKDIVISION_DIV1;
  htim1.Init.RepetitionCounter = 0;
  htim1.Init.AutoReloadPreload = TIM_AUTORELOAD_PRELOAD_DISABLE;
  if (HAL_TIM_Base_Init(&htim1) != HAL_OK)
  {
    Error_Handler();
  }
  sClockSourceConfig.ClockSource = TIM_CLOCKSOURCE_INTERNAL;
  if (HAL_TIM_ConfigClockSource(&htim1, &sClockSourceConfig) != HAL_OK)
  {
    Error_Handler();
  }
  if (HAL_TIM_PWM_Init(&htim1) != HAL_OK)
  {
    Error_Handler();
  }
  sMasterConfig.MasterOutputTrigger = TIM_TRGO_RESET;
  sMasterConfig.MasterSlaveMode = TIM_MASTERSLAVEMODE_DISABLE;
  if (HAL_TIMEx_MasterConfigSynchronization(&htim1, &sMasterConfig) != HAL_OK)
  {
    Error_Handler();
  }
  sConfigOC.OCMode = TIM_OCMODE_PWM1;
  sConfigOC.Pulse = 0;
  sConfigOC.OCPolarity = TIM_OCPOLARITY_HIGH;
  sConfigOC.OCNPolarity = TIM_OCNPOLARITY_HIGH;
  sConfigOC.OCFastMode = TIM_OCFAST_ENABLE;
  sConfigOC.OCIdleState = TIM_OCIDLESTATE_RESET;
  sConfigOC.OCNIdleState = TIM_OCNIDLESTATE_RESET;
  if (HAL_TIM_PWM_ConfigChannel(&htim1, &sConfigOC, TIM_CHANNEL_1) != HAL_OK)
  {
    Error_Handler();
  }
  if (HAL_TIM_PWM_ConfigChannel(&htim1, &sConfigOC, TIM_CHANNEL_2) != HAL_OK)
  {
    Error_Handler();
  }
  if (HAL_TIM_PWM_ConfigChannel(&htim1, &sConfigOC, TIM_CHANNEL_3) != HAL_OK)
  {
    Error_Handler();
  }
  sBreakDeadTimeConfig.OffStateRunMode = TIM_OSSR_DISABLE;
  sBreakDeadTimeConfig.OffStateIDLEMode = TIM_OSSI_DISABLE;
  sBreakDeadTimeConfig.LockLevel = TIM_LOCKLEVEL_OFF;
  sBreakDeadTimeConfig.DeadTime = 0;
  sBreakDeadTimeConfig.BreakState = TIM_BREAK_DISABLE;
  sBreakDeadTimeConfig.BreakPolarity = TIM_BREAKPOLARITY_HIGH;
  sBreakDeadTimeConfig.AutomaticOutput = TIM_AUTOMATICOUTPUT_DISABLE;
  if (HAL_TIMEx_ConfigBreakDeadTime(&htim1, &sBreakDeadTimeConfig) != HAL_OK)
  {
    Error_Handler();
  }
  HAL_TIM_MspPostInit(&htim1);

}

static void MX_TIM2_Init(void)
{

  TIM_ClockConfigTypeDef sClockSourceConfig = {0};
  TIM_MasterConfigTypeDef sMasterConfig = {0};
  TIM_OC_InitTypeDef sConfigOC = {0};

  htim2.Instance = TIM2;
  htim2.Init.Prescaler = 1;
  htim2.Init.CounterMode = TIM_COUNTERMODE_CENTERALIGNED1;
  htim2.Init.Period = 1024-1;
  htim2.Init.ClockDivision = TIM_CLOCKDIVISION_DIV1;
  htim2.Init.AutoReloadPreload = TIM_AUTORELOAD_PRELOAD_DISABLE;
  if (HAL_TIM_Base_Init(&htim2) != HAL_OK)
  {
    Error_Handler();
  }
  sClockSourceConfig.ClockSource = TIM_CLOCKSOURCE_INTERNAL;
  if (HAL_TIM_ConfigClockSource(&htim2, &sClockSourceConfig) != HAL_OK)
  {
    Error_Handler();
  }
  if (HAL_TIM_PWM_Init(&htim2) != HAL_OK)
  {
    Error_Handler();
  }
  sMasterConfig.MasterOutputTrigger = TIM_TRGO_RESET;
  sMasterConfig.MasterSlaveMode = TIM_MASTERSLAVEMODE_DISABLE;
  if (HAL_TIMEx_MasterConfigSynchronization(&htim2, &sMasterConfig) != HAL_OK)
  {
    Error_Handler();
  }
  sConfigOC.OCMode = TIM_OCMODE_PWM1;
  sConfigOC.Pulse = 0;
  sConfigOC.OCPolarity = TIM_OCPOLARITY_HIGH;
  sConfigOC.OCFastMode = TIM_OCFAST_ENABLE;
  if (HAL_TIM_PWM_ConfigChannel(&htim2, &sConfigOC, TIM_CHANNEL_1) != HAL_OK)
  {
    Error_Handler();
  }
  if (HAL_TIM_PWM_ConfigChannel(&htim2, &sConfigOC, TIM_CHANNEL_2) != HAL_OK)
  {
    Error_Handler();
  }
  if (HAL_TIM_PWM_ConfigChannel(&htim2, &sConfigOC, TIM_CHANNEL_3) != HAL_OK)
  {
    Error_Handler();
  }
  HAL_TIM_MspPostInit(&htim2);

}

static void MX_TIM3_Init(void)
{

  TIM_Encoder_InitTypeDef sConfig = {0};
  TIM_MasterConfigTypeDef sMasterConfig = {0};

  htim3.Instance = TIM3;
  htim3.Init.Prescaler = 0;
  htim3.Init.CounterMode = TIM_COUNTERMODE_UP;
  htim3.Init.Period = 730;
  htim3.Init.ClockDivision = TIM_CLOCKDIVISION_DIV1;
  htim3.Init.AutoReloadPreload = TIM_AUTORELOAD_PRELOAD_ENABLE;
  sConfig.EncoderMode = TIM_ENCODERMODE_TI12;
  sConfig.IC1Polarity = TIM_ICPOLARITY_RISING;
  sConfig.IC1Selection = TIM_ICSELECTION_DIRECTTI;
  sConfig.IC1Prescaler = TIM_ICPSC_DIV1;
  sConfig.IC1Filter = 0;
  sConfig.IC2Polarity = TIM_ICPOLARITY_RISING;
  sConfig.IC2Selection = TIM_ICSELECTION_DIRECTTI;
  sConfig.IC2Prescaler = TIM_ICPSC_DIV1;
  sConfig.IC2Filter = 0;
  if (HAL_TIM_Encoder_Init(&htim3, &sConfig) != HAL_OK)
  {
    Error_Handler();
  }
  sMasterConfig.MasterOutputTrigger = TIM_TRGO_RESET;
  sMasterConfig.MasterSlaveMode = TIM_MASTERSLAVEMODE_DISABLE;
  if (HAL_TIMEx_MasterConfigSynchronization(&htim3, &sMasterConfig) != HAL_OK)
  {
    Error_Handler();
  }

}

static void MX_TIM5_Init(void)
{

  TIM_MasterConfigTypeDef sMasterConfig = {0};
  TIM_OC_InitTypeDef sConfigOC = {0};

  htim5.Instance = TIM5;
  htim5.Init.Prescaler = 84;
  htim5.Init.CounterMode = TIM_COUNTERMODE_UP;
  htim5.Init.Period = 999999;
  htim5.Init.ClockDivision = TIM_CLOCKDIVISION_DIV1;
  htim5.Init.AutoReloadPreload = TIM_AUTORELOAD_PRELOAD_DISABLE;
  if (HAL_TIM_OC_Init(&htim5) != HAL_OK)
  {
    Error_Handler();
  }
  sMasterConfig.MasterOutputTrigger = TIM_TRGO_RESET;
  sMasterConfig.MasterSlaveMode = TIM_MASTERSLAVEMODE_DISABLE;
  if (HAL_TIMEx_MasterConfigSynchronization(&htim5, &sMasterConfig) != HAL_OK)
  {
    Error_Handler();
  }
  sConfigOC.OCMode = TIM_OCMODE_TIMING;
  sConfigOC.Pulse = 0;
  sConfigOC.OCPolarity = TIM_OCPOLARITY_HIGH;
  sConfigOC.OCFastMode = TIM_OCFAST_DISABLE;
  if (HAL_TIM_OC_ConfigChannel(&htim5, &sConfigOC, TIM_CHANNEL_4) != HAL_OK)
  {
    Error_Handler();
  }

}

static void MX_USART2_UART_Init(void)
{

  huart2.Instance = USART2;
  huart2.Init.BaudRate = 115200;
  huart2.Init.WordLength = UART_WORDLENGTH_8B;
  huart2.Init.StopBits = UART_STOPBITS_1;
  huart2.Init.Parity = UART_PARITY_NONE;
  huart2.Init.Mode = UART_MODE_TX_RX;
  huart2.Init.HwFlowCtl = UART_HWCONTROL_NONE;
  huart2.Init.OverSampling = UART_OVERSAMPLING_16;
  if (HAL_HalfDuplex_Init(&huart2) != HAL_OK)
  {
    Error_Handler();
  }

}

static void MX_DMA_Init(void)
{

  /* DMA controller clock enable */
  __HAL_RCC_DMA2_CLK_ENABLE();

  /* DMA interrupt init */
  /* DMA2_Stream0_IRQn interrupt configuration */
  HAL_NVIC_SetPriority(DMA2_Stream0_IRQn, 0, 0);
  HAL_NVIC_EnableIRQ(DMA2_Stream0_IRQn);

}

static void MX_GPIO_Init(void)
{
  GPIO_InitTypeDef GPIO_InitStruct = {0};

  /* GPIO Ports Clock Enable */
  __HAL_RCC_GPIOC_CLK_ENABLE();
  __HAL_RCC_GPIOH_CLK_ENABLE();
  __HAL_RCC_GPIOA_CLK_ENABLE();
  __HAL_RCC_GPIOB_CLK_ENABLE();

  /*Configure GPIO pin Output Level */
  HAL_GPIO_WritePin(FLAG_FUNCTION_DONE_GPIO_Port, FLAG_FUNCTION_DONE_Pin, GPIO_PIN_RESET);

  /*Configure GPIO pin Output Level */
  HAL_GPIO_WritePin(GPIOC, FLAG_WHILE_LOOP_DONE_Pin|GPIO_PIN_9, GPIO_PIN_RESET);

  /*Configure GPIO pin Output Level */
  HAL_GPIO_WritePin(GPIOB, BMI270_CS_Pin|MotorX_encoder_CS_Pin|MotorY_encoder_CS_Pin|MotorZ_encoder_CS_Pin, GPIO_PIN_SET);

  /*Configure GPIO pin Output Level */
  HAL_GPIO_WritePin(nSLEEP_GPIO_Port, nSLEEP_Pin, GPIO_PIN_RESET);

  /*Configure GPIO pin : Reset_program_Pin */
  GPIO_InitStruct.Pin = Reset_program_Pin;
  GPIO_InitStruct.Mode = GPIO_MODE_IT_FALLING;
  GPIO_InitStruct.Pull = GPIO_NOPULL;
  HAL_GPIO_Init(Reset_program_GPIO_Port, &GPIO_InitStruct);

  /*Configure GPIO pin : FLAG_FUNCTION_DONE_Pin */
  GPIO_InitStruct.Pin = FLAG_FUNCTION_DONE_Pin;
  GPIO_InitStruct.Mode = GPIO_MODE_OUTPUT_PP;
  GPIO_InitStruct.Pull = GPIO_NOPULL;
  GPIO_InitStruct.Speed = GPIO_SPEED_FREQ_HIGH;
  HAL_GPIO_Init(FLAG_FUNCTION_DONE_GPIO_Port, &GPIO_InitStruct);

  /*Configure GPIO pin : FLAG_WHILE_LOOP_DONE_Pin */
  GPIO_InitStruct.Pin = FLAG_WHILE_LOOP_DONE_Pin;
  GPIO_InitStruct.Mode = GPIO_MODE_OUTPUT_PP;
  GPIO_InitStruct.Pull = GPIO_NOPULL;
  GPIO_InitStruct.Speed = GPIO_SPEED_FREQ_HIGH;
  HAL_GPIO_Init(FLAG_WHILE_LOOP_DONE_GPIO_Port, &GPIO_InitStruct);

  /*Configure GPIO pins : BMI270_CS_Pin MotorX_encoder_CS_Pin MotorY_encoder_CS_Pin MotorZ_encoder_CS_Pin */
  GPIO_InitStruct.Pin = BMI270_CS_Pin|MotorX_encoder_CS_Pin|MotorY_encoder_CS_Pin|MotorZ_encoder_CS_Pin;
  GPIO_InitStruct.Mode = GPIO_MODE_OUTPUT_PP;
  GPIO_InitStruct.Pull = GPIO_NOPULL;
  GPIO_InitStruct.Speed = GPIO_SPEED_FREQ_VERY_HIGH;
  HAL_GPIO_Init(GPIOB, &GPIO_InitStruct);

  /*Configure GPIO pins : nFAULT_Z_Pin nFAULT_X_Pin nFAULT_Y_Pin */
  GPIO_InitStruct.Pin = nFAULT_Z_Pin|nFAULT_X_Pin|nFAULT_Y_Pin;
  GPIO_InitStruct.Mode = GPIO_MODE_INPUT;
  GPIO_InitStruct.Pull = GPIO_NOPULL;
  HAL_GPIO_Init(GPIOB, &GPIO_InitStruct);

  /*Configure GPIO pin : nSLEEP_Pin */
  GPIO_InitStruct.Pin = nSLEEP_Pin;
  GPIO_InitStruct.Mode = GPIO_MODE_OUTPUT_PP;
  GPIO_InitStruct.Pull = GPIO_NOPULL;
  GPIO_InitStruct.Speed = GPIO_SPEED_FREQ_HIGH;
  HAL_GPIO_Init(nSLEEP_GPIO_Port, &GPIO_InitStruct);

  /*Configure GPIO pin : PC9 */
  GPIO_InitStruct.Pin = GPIO_PIN_9;
  GPIO_InitStruct.Mode = GPIO_MODE_OUTPUT_PP;
  GPIO_InitStruct.Pull = GPIO_NOPULL;
  GPIO_InitStruct.Speed = GPIO_SPEED_FREQ_LOW;
  HAL_GPIO_Init(GPIOC, &GPIO_InitStruct);

  /*Configure GPIO pin : Motor_selector_Pin */
  GPIO_InitStruct.Pin = Motor_selector_Pin;
  GPIO_InitStruct.Mode = GPIO_MODE_IT_RISING;
  GPIO_InitStruct.Pull = GPIO_NOPULL;
  HAL_GPIO_Init(Motor_selector_GPIO_Port, &GPIO_InitStruct);

  /* EXTI interrupt init*/
  HAL_NVIC_SetPriority(EXTI15_10_IRQn, 0, 0);
  HAL_NVIC_EnableIRQ(EXTI15_10_IRQn);

}

/* USER CODE BEGIN 4 */
void HAL_ADC_ConvCpltCallback(ADC_HandleTypeDef *hadc) {
	adcConvComplete = 1;
}

void HAL_GPIO_EXTI_Callback(uint16_t GPIO_Pin){
	if(GPIO_Pin == GPIO_PIN_12){
		motor_control_toggle++;
		if(!USE_IMU_CONTROL){
			motor_control_toggle = motor_control_toggle % 2;
		}
		else if(USE_IMU_CONTROL){
			motor_control_toggle = motor_control_toggle % 3;
		}
	}
}

/* USER CODE END 4 */

void Error_Handler(void)
{
	__disable_irq();
	while (1) {
	}
}
